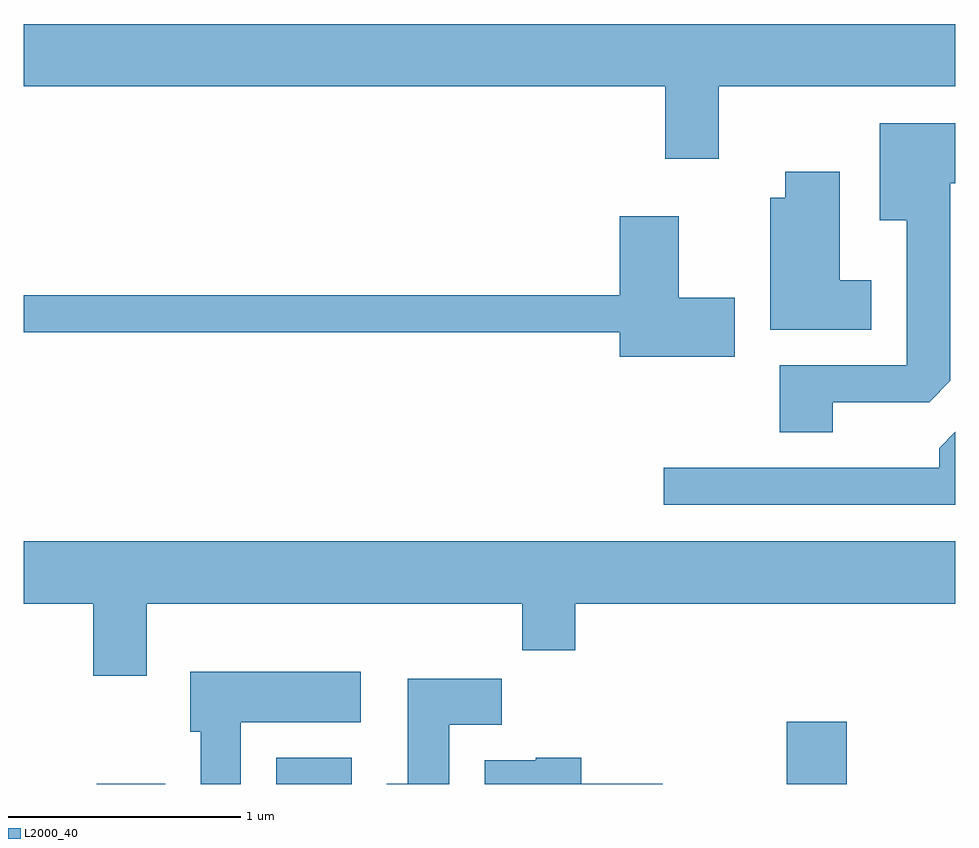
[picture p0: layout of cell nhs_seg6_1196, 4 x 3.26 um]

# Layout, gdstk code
import gdstk
lib = gdstk.Library(unit=1e-6, precision=1e-09)
def R(c, l, rs):  # rectangles x0, y0, x1, y1
    for r in rs: c.add(gdstk.rectangle(r[:2], r[2:], *l))
def P(c, l, *ps):  # polygons
    for p in ps: c.add(gdstk.Polygon(p, *l))
L2000_40 = (2000, 40)

nhs_seg6_1196 = lib.new_cell('nhs_seg6_1196')
R(nhs_seg6_1196, L2000_40, [(221.926,1538.162,222.219,1538.164), (222.696,1538.162,223.019,1538.274), (224.886,1538.162,225.144,1538.429)])
P(nhs_seg6_1196, L2000_40, [(224.594,1541.156),(225.611,1541.156),(225.611,1541.424),(221.611,1541.424),(221.611,1541.156),(224.366,1541.156),(224.366,1540.846),(224.594,1540.846)],
  [(225.084,1539.801),(225.499,1539.801),(225.589,1539.892),(225.589,1540.741),(225.611,1540.741),(225.611,1540.999),(225.286,1540.999),(225.286,1540.581),(225.401,1540.581),(225.401,1539.959),(224.856,1539.959),(224.856,1539.671),(225.084,1539.671)],
  [(225.249,1540.324),(225.114,1540.324),(225.114,1540.789),(224.881,1540.789),(224.881,1540.679),(224.816,1540.679),(224.816,1540.111),(225.249,1540.111)],
  [(224.664,1540.249),(224.424,1540.249),(224.424,1540.599),(224.171,1540.599),(224.171,1540.259),(221.611,1540.259),(221.611,1540.101),(224.171,1540.101),(224.171,1539.996),(224.664,1539.996)],
  [(225.611,1539.673),(225.541,1539.604),(225.541,1539.519),(224.358,1539.519),(224.358,1539.361),(225.611,1539.361)],
  [(222.139,1538.936),(223.751,1538.936),(223.751,1538.736),(223.979,1538.736),(223.979,1538.936),(225.611,1538.936),(225.611,1539.204),(221.611,1539.204),(221.611,1538.936),(221.911,1538.936),(221.911,1538.626),(222.139,1538.626)],
  [(222.544,1538.426),(223.059,1538.426),(223.059,1538.644),(222.326,1538.644),(222.326,1538.386),(222.371,1538.386),(222.371,1538.162),(222.544,1538.162)],
  [(223.439,1538.416),(223.664,1538.416),(223.664,1538.614),(223.261,1538.614),(223.261,1538.164),(223.171,1538.164),(223.171,1538.162),(223.439,1538.162)],
  [(224.354,1538.164),(224.004,1538.164),(224.004,1538.274),(223.81,1538.274),(223.81,1538.264),(223.591,1538.264),(223.591,1538.162),(224.354,1538.162)])

lib.write_gds('nhs_seg6_1196.gds')
